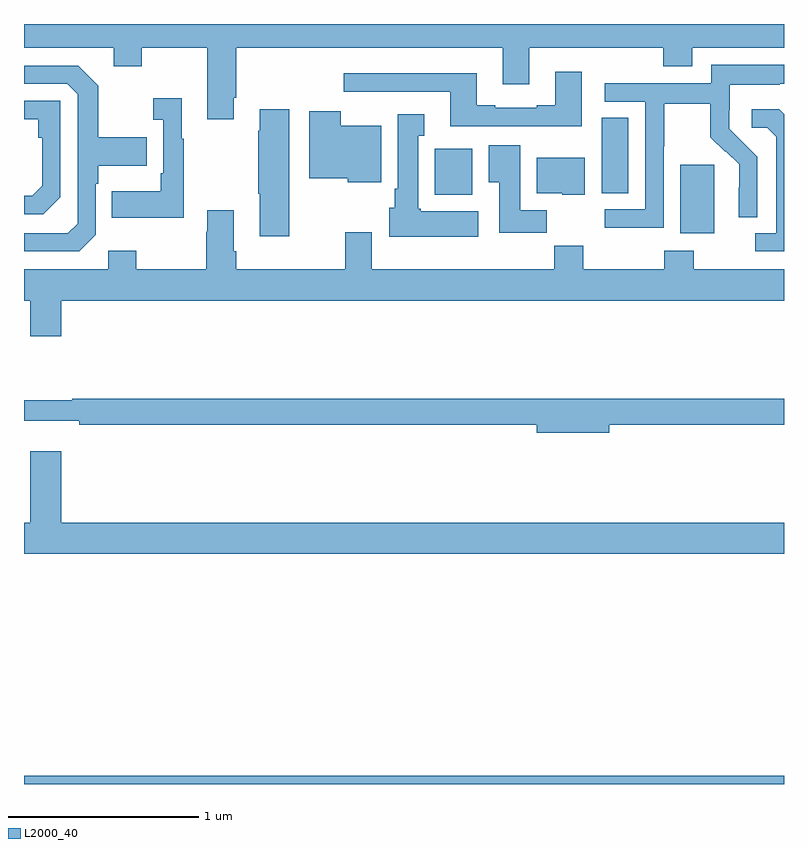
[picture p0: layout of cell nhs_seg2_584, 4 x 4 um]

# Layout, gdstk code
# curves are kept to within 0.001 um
import gdstk
lib = gdstk.Library(unit=1e-6, precision=1e-09)
def R(c, l, rs):  # rectangles x0, y0, x1, y1
    for r in rs: c.add(gdstk.rectangle(r[:2], r[2:], *l))
def P(c, l, *ps):  # polygons
    for p in ps: c.add(gdstk.Polygon(p, *l))
L2000_40 = (2000, 40)

nhs_seg2_584 = lib.new_cell('nhs_seg2_584')
R(nhs_seg2_584, L2000_40, [(141,603.8,145,603.844), (144.455,606.698,144.634,607.059), (143.162,606.902,143.359,607.144), (144.041,606.91,144.181,607.307)])
P(nhs_seg2_584, L2000_40, [(141,607.676),(141.473,607.676),(141.473,607.577),(141.621,607.577),(141.621,607.676),(141.965,607.676),(141.965,607.299),(142.105,607.299),(142.105,607.411),(142.118,607.411),(142.118,607.676),(143.519,607.676),(143.519,607.482),(143.659,607.482),(143.659,607.676),(144.365,607.676),(144.365,607.577),(144.517,607.577),(144.517,607.676),(145,607.676),(145,607.8),(141,607.8)],
  [(144.366,607.156),(144.369,607.156),(144.369,607.38),(144.613,607.38),(144.613,607.205),(144.69,607.128),(144.693,607.131),(144.764,607.061),(144.764,606.938),(144.762,606.938),(144.762,606.784),(144.858,606.784),(144.858,607.102),(144.712,607.25),(144.712,607.347),(144.714,607.347),(144.714,607.481),(144.977,607.481),(144.977,607.485),(145,607.485),(145,607.585),(144.618,607.585),(144.618,607.488),(144.057,607.488),(144.057,607.392),(144.27,607.392),(144.27,606.825),(144.057,606.825),(144.057,606.727),(144.366,606.727)],
  [(141.378,606.69),(141.378,606.959),(141.391,606.959),(141.391,607.055),(141.647,607.055),(141.647,607.203),(141.391,607.203),(141.391,607.475),(141.285,607.581),(141,607.581),(141,607.485),(141.228,607.485),(141.282,607.431),(141.282,606.75),(141.231,606.699),(141,606.699),(141,606.603),(141.291,606.603)],
  [(143.935,607.549),(143.795,607.549),(143.795,607.372),(143.699,607.372),(143.699,607.359),(143.479,607.359),(143.479,607.372),(143.383,607.372),(143.383,607.54),(142.683,607.54),(142.683,607.443),(143.243,607.443),(143.243,607.263),(143.707,607.263),(143.707,607.262),(143.935,607.262)],
  [(141.841,607.195),(141.829,607.195),(141.829,607.408),(141.681,607.408),(141.681,607.295),(141.732,607.295),(141.732,607.015),(141.72,607.015),(141.72,606.919),(141.463,606.919),(141.463,606.779),(141.841,606.779)],
  [(141.192,606.888),(141.192,607.395),(141,607.395),(141,607.299),(141.076,607.299),(141.076,607.202),(141.096,607.202),(141.096,606.948),(141.043,606.895),(141,606.895),(141,606.798),(141.102,606.798)],
  [(145,607.325),(144.974,607.351),(144.831,607.351),(144.831,607.254),(144.912,607.254),(144.959,607.207),(144.959,606.699),(144.849,606.699),(144.849,606.603),(145,606.603)],
  [(142.396,607.351),(142.241,607.351),(142.241,607.238),(142.234,607.238),(142.234,606.907),(142.241,606.907),(142.241,606.684),(142.396,606.684)],
  [(142.879,607.264),(142.668,607.264),(142.668,607.342),(142.502,607.342),(142.502,606.989),(142.704,606.989),(142.704,606.968),(142.879,606.968)],
  [(143.392,606.814),(143.088,606.814),(143.088,606.828),(143.074,606.828),(143.074,607.211),(143.107,607.211),(143.107,607.324),(142.967,607.324),(142.967,606.934),(142.952,606.934),(142.952,606.834),(142.922,606.834),(142.922,606.68),(143.392,606.68)],
  [(143.75,606.82),(143.611,606.82),(143.611,607.162),(143.447,607.162),(143.447,606.968),(143.501,606.968),(143.501,606.702),(143.75,606.702)],
  [(143.95,607.096),(143.699,607.096),(143.699,606.908),(143.832,606.908),(143.832,606.902),(143.95,606.902)],
  [(145,606.508),(144.525,606.508),(144.525,606.607),(144.37,606.607),(144.37,606.508),(143.943,606.508),(143.943,606.632),(143.791,606.632),(143.791,606.508),(142.831,606.508),(142.831,606.703),(142.691,606.703),(142.691,606.508),(142.118,606.508),(142.118,606.604),(142.105,606.604),(142.105,606.82),(141.965,606.82),(141.965,606.707),(141.958,606.707),(141.958,606.508),(141.591,606.508),(141.591,606.607),(141.444,606.607),(141.444,606.508),(141,606.508),(141,606.344),(141.032,606.344),(141.032,606.156),(141.196,606.156),(141.196,606.344),(145,606.344)],
  [(144.079,605.692),(145,605.692),(145,605.828),(141.254,605.828),(141.254,605.821),(141,605.821),(141,605.711),(141.292,605.711),(141.292,605.692),(143.699,605.692),(143.699,605.65),(144.079,605.65)],
  [(145,605.176),(141.196,605.176),(141.196,605.551),(141.032,605.551),(141.032,605.176),(141,605.176),(141,605.012),(145,605.012)])

lib.write_gds('nhs_seg2_584.gds')
